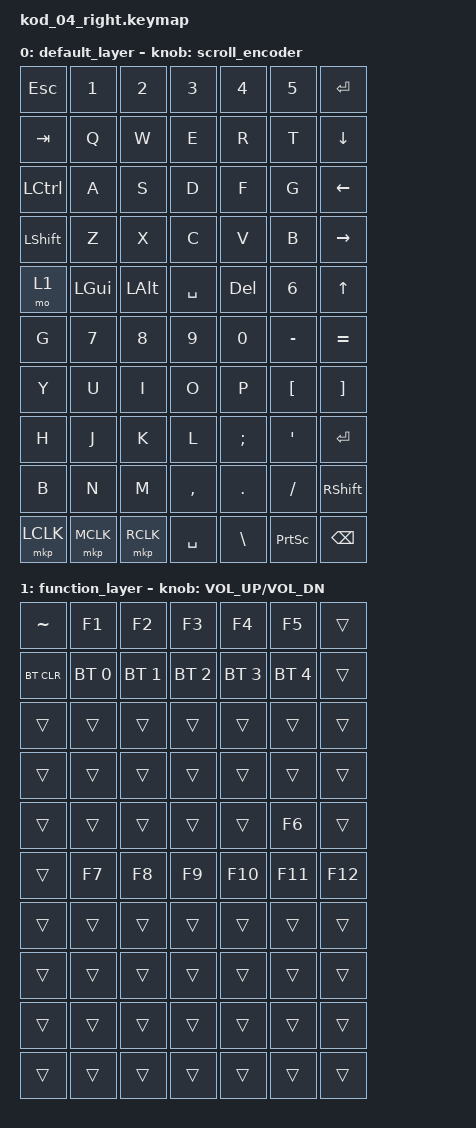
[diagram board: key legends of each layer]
#include <behaviors.dtsi>
#include <dt-bindings/zmk/keys.h>
// #include <dt-bindings/zmk/mouse.h>
#include <dt-bindings/zmk/bt.h>
#define ZMK_POINTING_DEFAULT_SCRL_VAL 150
#include <dt-bindings/zmk/pointing.h>

/ {
    behaviors {
        scrl_down: scrl_down {
            compatible = "zmk,behavior-macro";
            #binding-cells = <0>;
            wait-ms = <0>;
            tap-ms = <20>;
            bindings = <&msc SCRL_DOWN>;
        };
        scrl_up: scrl_up {
            compatible = "zmk,behavior-macro";
            #binding-cells = <0>;
            wait-ms = <0>;
            tap-ms = <20>;
            bindings = <&msc SCRL_UP>;
        };
        scroll_encoder: scroll_encoder {
            compatible = "zmk,behavior-sensor-rotate";
            #sensor-binding-cells = <0>;
            bindings = <&scrl_up>, <&scrl_down>;
        };
    };
  keymap {
    compatible = "zmk,keymap";
    
    default_layer {
    sensor-bindings = <&scroll_encoder>;
      bindings = <
        // 左手35キー
        &kp ESC   &kp N1    &kp N2    &kp N3    &kp N4    &kp N5    &kp RET
        &kp TAB   &kp Q     &kp W     &kp E     &kp R     &kp T     &kp DOWN
        &kp LCTRL &kp A     &kp S     &kp D     &kp F     &kp G     &kp LEFT
        &kp LSHFT &kp Z     &kp X     &kp C     &kp V     &kp B     &kp RIGHT
        &mo 1     &kp LGUI  &kp LALT  &kp SPACE &kp DEL   &kp N6    &kp UP
        
        // 右手35キー
        &kp G     &kp N7    &kp N8    &kp N9    &kp N0    &kp MINUS &kp EQUAL
        &kp Y     &kp U     &kp I     &kp O     &kp P     &kp LBKT  &kp RBKT
        &kp H     &kp J     &kp K     &kp L     &kp SEMI  &kp APOS  &kp RET
        &kp B     &kp N     &kp M     &kp COMMA &kp DOT   &kp FSLH  &kp RSHFT
        &mkp LCLK &mkp MCLK &mkp RCLK &kp SPACE &kp BSLH  &kp PSCRN &kp BSPC
      >;
    };
    
    function_layer {
sensor-bindings = <&inc_dec_kp C_VOL_UP C_VOL_DN>;
      bindings = <
        // 左手35キー
        &kp TILDE &kp F1    &kp F2    &kp F3    &kp F4    &kp F5    &trans
        &bt BT_CLR    &bt BT_SEL 0    &bt BT_SEL 1    &bt BT_SEL 2    &bt BT_SEL 3    &bt BT_SEL 4    &trans
        &trans    &trans    &trans    &trans    &trans    &trans    &trans
        &trans    &trans    &trans    &trans    &trans    &trans    &trans
        &trans    &trans    &trans    &trans    &trans    &kp F6    &trans
        
        // 右手35キー
        &trans    &kp F7    &kp F8    &kp F9    &kp F10   &kp F11   &kp F12
        &trans    &trans    &trans    &trans    &trans    &trans    &trans
        &trans    &trans    &trans    &trans    &trans    &trans    &trans
        &trans    &trans    &trans    &trans    &trans    &trans    &trans
        &trans    &trans    &trans    &trans    &trans    &trans    &trans
      >;
    };
  };
};
